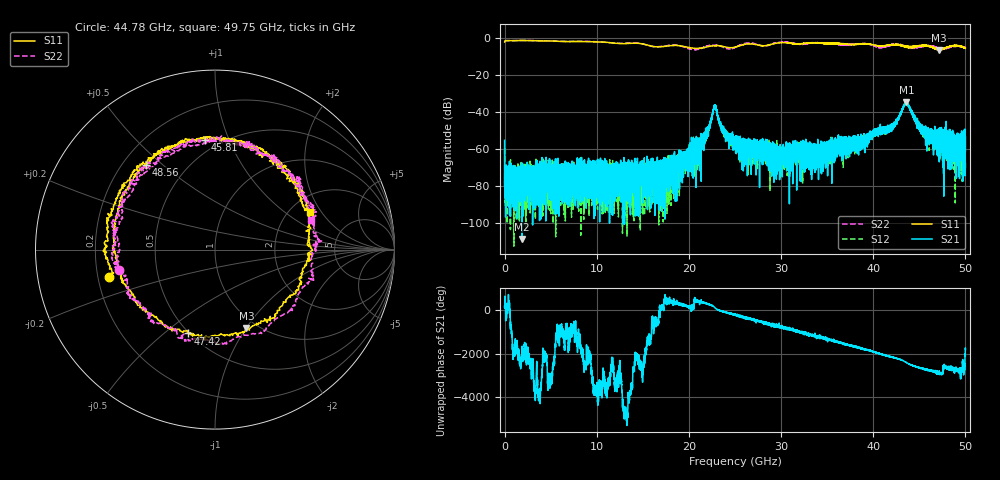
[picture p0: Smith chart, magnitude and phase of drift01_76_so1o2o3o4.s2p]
!Created with skrf (http://scikit-rf.org).
# Hz S RI R 50.0
!freq ReS11 ImS11 ReS21 ImS21 ReS12 ImS12 ReS22 ImS22
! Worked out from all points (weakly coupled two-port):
!   10001 points, 300 kHz to 50 GHz, reference 50 ohm
!   highest |S21| = -34.70 dB at 43.61 GHz (marker M1); lowest = -108.4 dB at 1.895 GHz (marker M2)
!   lowest |S11| = -6.5 dB at 47.15 GHz (marker M3), VSWR 2.78, Z = 44.6 - j50.1 ohm
!   |S11| at or under -10 dB: nowhere
!   |S22| runs from -6.4 to -1.4 dB; largest |S21 - S12| = 0.0044
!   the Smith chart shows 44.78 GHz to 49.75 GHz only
!   S11 on the Smith chart (normalised r, x): 44.78 GHz: 0.25, -0.12; 45.81 GHz: 0.42, +0.82; 47.42 GHz: 0.49, -0.61; 48.56 GHz: 0.29, +0.44; 49.75 GHz: 2.55, +1.58
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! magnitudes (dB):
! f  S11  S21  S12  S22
! 300 kHz  -2.2  -55.2  -59.6  -2.1
! 255.3 MHz  -1.4  -78.0  -81.5  -1.4
! 1.895 GHz  -1.4  -108.4  -76.1  -1.4
! 8.335 GHz  -1.9  -69.0  -81.6  -1.8
! 12.87 GHz  -3.1  -73.1  -87.8  -2.8
! 16.67 GHz  -4.8  -76.4  -72.6  -4.8
! 21 GHz  -5.6  -55.4  -59.8  -6.2
! 22.01 GHz  -4.8  -53.1  -50.9  -4.4
! 22.8 GHz  -4.3  -36.6  -36.3  -4.0
! 23.74 GHz  -4.6  -51.8  -51.2  -4.9
! 25 GHz  -5.0  -57.1  -56.6  -5.0
! 29.63 GHz  -2.7  -62.7  -63.5  -2.5
! 33.34 GHz  -2.6  -64.0  -62.2  -2.7
! 41.67 GHz  -3.9  -50.0  -50.2  -4.0
! 43.61 GHz  -4.7  -34.7  -34.9  -4.7
! 44.78 GHz  -4.3  -45.0  -44.9  -5.3
! 45.81 GHz  -4.2  -52.2  -51.9  -4.1
! 47.15 GHz  -6.5  -53.3  -53.3  -5.6
! 47.42 GHz  -6.2  -52.7  -58.2  -6.0
! 48.56 GHz  -4.3  -64.9  -57.7  -4.7
! 49.75 GHz  -4.9  -52.6  -58.0  -5.0
! 50 GHz  -5.5  -53.4  -67.1  -5.2
